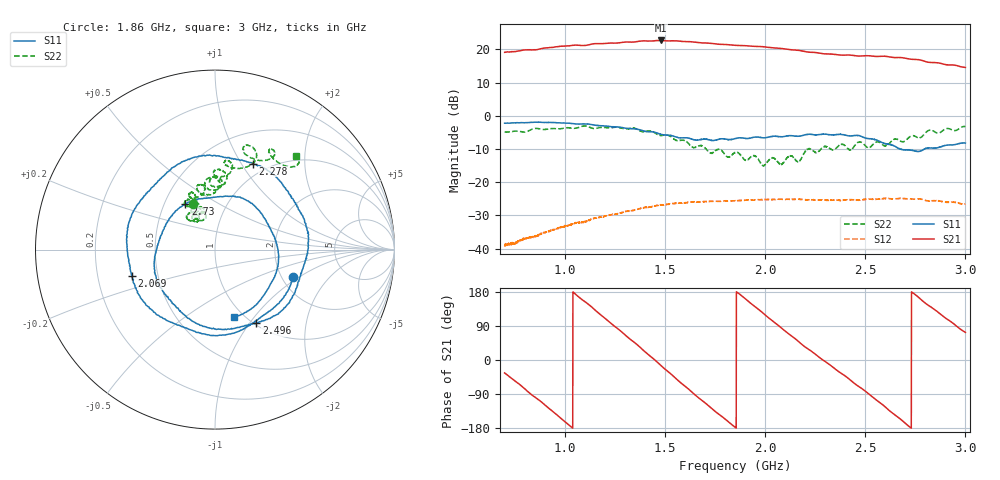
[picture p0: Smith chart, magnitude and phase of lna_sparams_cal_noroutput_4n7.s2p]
#  HZ  S  RI  R  50.00
! Rohde & Schwarz Vector Network Analyzer
! Rohde-Schwarz,ZNB20-2Port,1311601062102243,3.20
! Created: UTC 11/3/2022, 2:45:25 PM
! freq[Hz]  re:S11  im:S11  re:S21  im:S21  re:S12  im:S12  re:S22  im:S22
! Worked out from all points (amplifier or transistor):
!   2301 points, 700 MHz to 3 GHz, reference 50 ohm
!   highest |S21| = 22.7 dB at 1.48 GHz (marker M1)
!   |S21| within 3 dB of that: 785.6 MHz to 2.167 GHz (1.381 GHz wide, 93.6 % of centre) (the widest 1 of 2)
!   unconditionally stable (mu >= 1): start of sweep to 976 MHz; 980.1968 MHz to 984.3214 MHz; 2.017 GHz to end of sweep (the widest 3 of 11)
!   at 1.083 GHz: K = 0.91, MSG = 26.7 dB, |S12| = -32.1 dB
!   at 1.85 GHz: K = 0.98, MSG = 23.4 dB, |S12| = -25.6 dB
!   at 3 GHz: K = 1.27, MAG = 17.5 dB, |S12| = -26.6 dB
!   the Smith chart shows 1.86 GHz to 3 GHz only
!   S11 on the Smith chart (normalised r, x): 1.86 GHz: 2.29, -0.90; 2.069 GHz: 0.35, -0.14; 2.278 GHz: 0.85, +1.13; 2.496 GHz: 1.03, -1.07; 2.73 GHz: 0.64, +0.35; 3 GHz: 0.91, -0.80
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7e8  0.7645 0.1211  7.496 -5.077  -0.00241 -0.0108  0.453 0.347
8.93e8  -0.3438 -0.7204  -4.393 -9.478  -0.0169 -0.00266  0.5898 -0.1997
9.95e8  -0.7817 -0.0218  -10.57 -3.804  -0.0177 0.0112  0.3861 -0.5243
1.084e9  -0.4745 0.5867  -10.83 3.842  -0.00854 0.0229  0.0862 -0.6841
1.185e9  0.2474 0.6633  -5.541 10.92  0.0102 0.0287  -0.2505 -0.6212
1.283e9  0.6523 0.1448  3.353 12.28  0.0295 0.0181  -0.4871 -0.436
1.391e9  0.3516 -0.4782  12.09 5.927  0.04 -0.00985  -0.5686 -0.0891
1.467e9  -0.1317 -0.5249  13.52 -1.963  0.0306 -0.0327  -0.5111 0.0926
1.48e9  -0.201 -0.4871  13.23 -3.463  0.0272 -0.0361  -0.483 0.1455
1.644e9  -0.2645 0.3448  0.2446 -12.99  -0.0276 -0.0422  -0.2274 0.2397
1.75e9  0.251 0.347  -8.634 -8.583  -0.0501 -0.0112  -0.1345 0.2597
1.85e9  0.4424 -0.0993  -11.56 -0.5824  -0.0465 0.0242  -0.1058 0.2571
1.86e9  0.4341 -0.1549  -11.5 0.2463  -0.0446 0.0272  -0.1233 0.253
1.979e9  -0.0968 -0.4617  -6.922 8.65  -0.0112 0.0535  -0.0936 0.1657
2.069e9  -0.4632 -0.1478  -0.0438 10.42  0.0231 0.0502  -0.1109 0.1555
2.234e9  -0.00999 0.524  8.376 3.412  0.0543 -0.000515  -0.1722 0.2537
2.278e9  0.2119 0.4794  8.724 0.6137  0.0514 -0.0161  -0.1062 0.295
2.496e9  0.2298 -0.4082  1.344 -7.919  -0.00892 -0.0538  -0.0574 0.3606
2.617e9  -0.2866 -0.2369  -5.192 -5.783  -0.0478 -0.0306  0.0558 0.367
2.73e9  -0.1658 0.2523  -7.126 -0.0184  -0.0541 0.0131  0.0815 0.4886
2.869e9  0.3275 0.0801  -3.459 5.199  -0.019 0.0488  0.2334 0.4989
3e9  0.1067 -0.3738  1.593 5.128  0.0224 0.041  0.4505 0.5209
